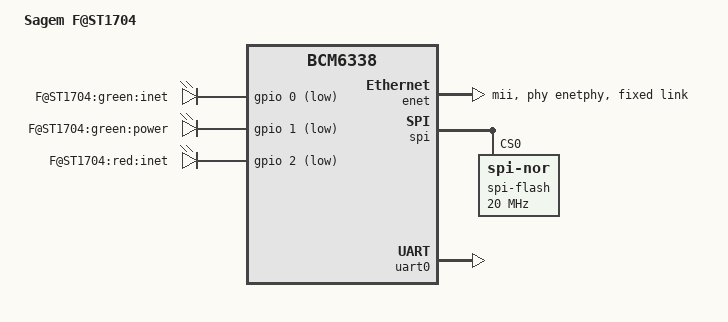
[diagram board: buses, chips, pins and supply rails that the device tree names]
// SPDX-License-Identifier: GPL-2.0+
/*
 * Copyright (C) 2017 Álvaro Fernández Rojas <noltari@gmail.com>
 */

/dts-v1/;

#include "brcm,bcm6338.dtsi"

/ {
	model = "Sagem F@ST1704";
	compatible = "sagem,f@st1704", "brcm,bcm6338";

	aliases {
		serial0 = &uart0;
	};

	chosen {
		stdout-path = "serial0:115200n8";
	};

	gpio-leds {
		compatible = "gpio-leds";

		inet_green {
			label = "F@ST1704:green:inet";
			gpios = <&gpio 0 GPIO_ACTIVE_LOW>;
		};

		power_green {
			label = "F@ST1704:green:power";
			gpios = <&gpio 1 GPIO_ACTIVE_LOW>;
		};

		inet_red {
			label = "F@ST1704:red:inet";
			gpios = <&gpio 2 GPIO_ACTIVE_LOW>;
		};
	};
};

&enet {
	status = "okay";
	phy = <&enetphy>;
	phy-mode = "mii";

	enetphy: fixed-link {
		reg = <1>;
		speed = <100>;
		full-duplex;
	};
};

&gpio {
	status = "okay";
};

&spi {
	status = "okay";

	spi-flash@0 {
		compatible = "jedec,spi-nor";
		reg = <0>;
		#address-cells = <1>;
		#size-cells = <1>;
		spi-max-frequency = <20000000>;
	};
};

&uart0 {
	u-boot,dm-pre-reloc;
	status = "okay";
};
